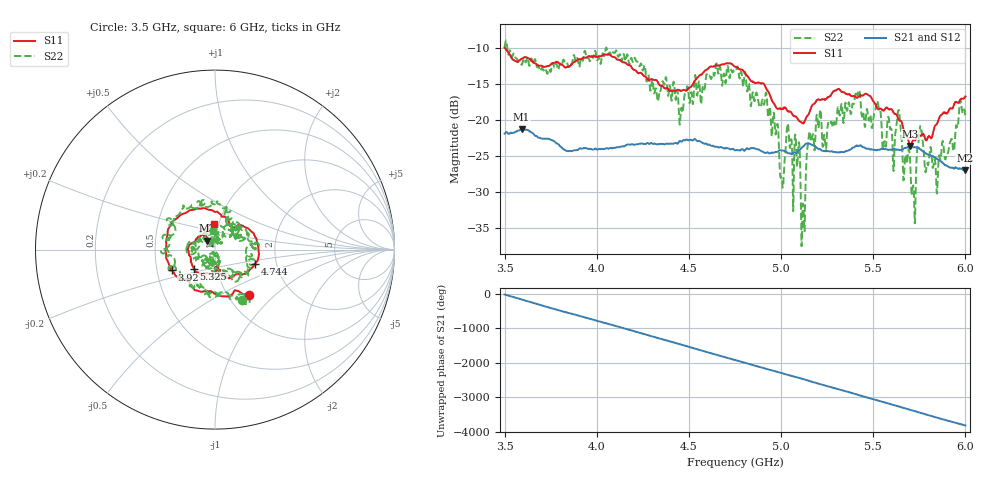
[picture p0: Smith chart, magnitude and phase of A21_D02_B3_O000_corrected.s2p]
! Created with skrf 1.9.0 (http://scikit-rf.org).
# Hz S RI R 50.0
!freq ReS11 ImS11 ReS21 ImS21 ReS12 ImS12 ReS22 ImS22
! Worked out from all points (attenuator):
!   1601 points, 3.5 GHz to 6 GHz, reference 50 ohm
!   highest |S21| = -21.35 dB at 3.592 GHz (marker M1); lowest = -27.0 dB at 5.997 GHz (marker M2)
!   lowest |S11| = -23.6 dB at 5.702 GHz (marker M3), VSWR 1.14, Z = 45.7 + j4.59 ohm
!   |S11| at or under -10 dB: 3.5 GHz to end of sweep
!   |S22| runs from -37.6 to -9.0 dB; largest |S21 - S12| = 0.001
!   S11 on the Smith chart (normalised r, x): 3.5 GHz: 1.25, -0.70; 3.92 GHz: 0.60, -0.15; 4.744 GHz: 1.55, -0.25; 5.325 GHz: 0.77, -0.17; 6 GHz: 0.95, +0.28
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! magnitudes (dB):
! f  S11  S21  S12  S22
! 3.5 GHz  -10.0  -21.9  -21.9  -10.0
! 3.592 GHz  -11.6  -21.3  -21.4  -12.4
! 3.917 GHz  -11.5  -24.0  -24.0  -11.4
! 3.92 GHz  -11.5  -24.0  -24.0  -11.6
! 4.334 GHz  -15.0  -23.4  -23.3  -17.1
! 4.744 GHz  -12.5  -24.1  -24.1  -13.1
! 4.75 GHz  -12.6  -24.3  -24.2  -13.1
! 4.927 GHz  -15.9  -24.5  -24.5  -18.6
! 5.005 GHz  -18.5  -24.2  -24.2  -28.5
! 5.034 GHz  -18.8  -24.6  -24.5  -20.7
! 5.088 GHz  -19.8  -24.5  -24.5  -26.5
! 5.119 GHz  -20.5  -23.8  -23.7  -31.6
! 5.167 GHz  -18.1  -23.5  -23.4  -22.8
! 5.325 GHz  -16.1  -24.5  -24.4  -18.1
! 5.584 GHz  -18.6  -24.2  -24.1  -19.8
! 5.639 GHz  -20.0  -24.2  -24.2  -18.7
! 5.702 GHz  -23.6  -23.8  -23.8  -26.5
! 5.719 GHz  -22.8  -23.8  -23.8  -29.5
! 5.753 GHz  -22.2  -24.1  -24.0  -21.2
! 5.839 GHz  -20.8  -25.3  -25.2  -26.8
! 5.997 GHz  -16.9  -27.0  -26.9  -18.9
! 6 GHz  -16.8  -27.0  -26.9  -19.6
